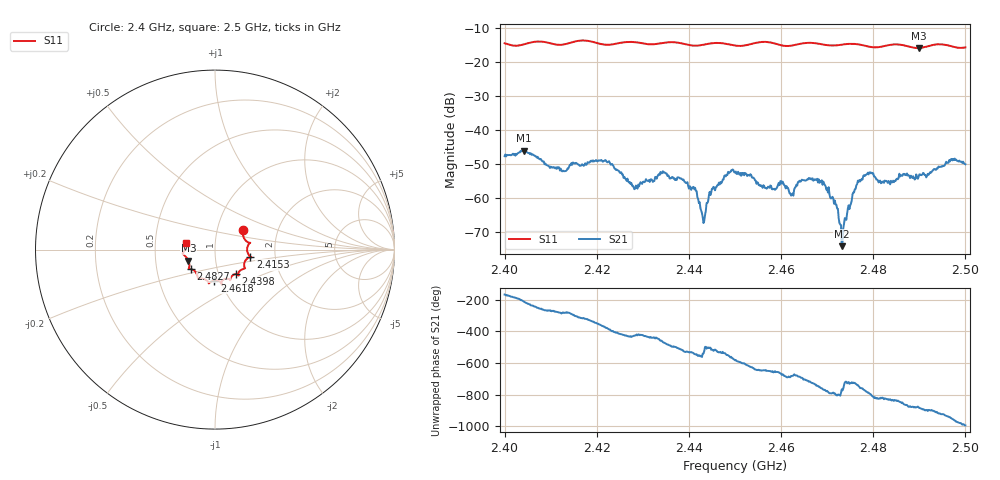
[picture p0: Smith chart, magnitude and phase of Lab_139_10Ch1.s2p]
# Hz S RI R
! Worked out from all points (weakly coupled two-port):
!   601 points, 2.4 GHz to 2.5 GHz, reference 50 ohm
!   highest |S21| = -46.06 dB at 2.4042 GHz (marker M1); lowest = -74.1 dB at 2.4732 GHz (marker M2)
!   lowest |S11| = -15.9 dB at 2.4898 GHz (marker M3), VSWR 1.38, Z = 36.8 - j4.64 ohm
!   |S11| at or under -10 dB: start of sweep to end of sweep
!   S12 and S22 are empty: the file has one direction only
!   S11 on the Smith chart (normalised r, x): 2.4 GHz: 1.33, +0.29; 2.4153 GHz: 1.48, -0.12; 2.4398 GHz: 1.21, -0.34; 2.4618 GHz: 0.94, -0.33; 2.4827 GHz: 0.75, -0.17; 2.5 GHz: 0.72, +0.06
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2.4e9  0.1553 0.1069  -0.00403 -0.000968  0 0  0 0
2.404167e9  0.1759 0.0459  -0.00429 0.00252  0 0  0 0
2.412833e9  0.1806 -0.0127  0.000541 0.00243  0 0  0 0
2.415333e9  0.1967 -0.0396  0.0017 0.00274  0 0  0 0
2.416667e9  0.2024 -0.0436  0.00216 0.00215  0 0  0 0
2.422333e9  0.1653 -0.0687  0.00314 -0.00119  0 0  0 0
2.428333e9  0.1653 -0.1049  0.000585 -0.00125  0 0  0 0
2.433333e9  0.1298 -0.1334  0.000157 -0.00219  0 0  0 0
2.439833e9  0.1158 -0.1359  -0.00149 -0.000266  0 0  0 0
2.443167e9  0.0881 -0.1563  -0.000431 -1.07e-05  0 0  0 0
2.445e9  0.084 -0.1688  -0.00125 -0.000585  0 0  0 0
2.45e9  0.0651 -0.1623  -0.00177 0.0016  0 0  0 0
2.461833e9  -0.00338 -0.1726  0.00101 0.000617  0 0  0 0
2.466667e9  -0.0348 -0.1879  0.00187 -0.00018  0 0  0 0
2.469833e9  -0.0465 -0.1712  0.000705 -0.00113  0 0  0 0
2.471833e9  -0.0685 -0.1613  0.000173 -0.000794  0 0  0 0
2.473167e9  -0.0823 -0.16  0.000136 -0.000143  0 0  0 0
2.477e9  -0.0966 -0.1527  0.00159 -0.00094  0 0  0 0
2.482667e9  -0.1346 -0.1087  -0.00045 -0.00173  0 0  0 0
2.483333e9  -0.1399 -0.1085  -0.000679 -0.00166  0 0  0 0
2.489833e9  -0.1482 -0.0614  -0.00192 -0.000712  0 0  0 0
2.5e9  -0.1596 0.0386  0.000242 0.00314  0 0  0 0
